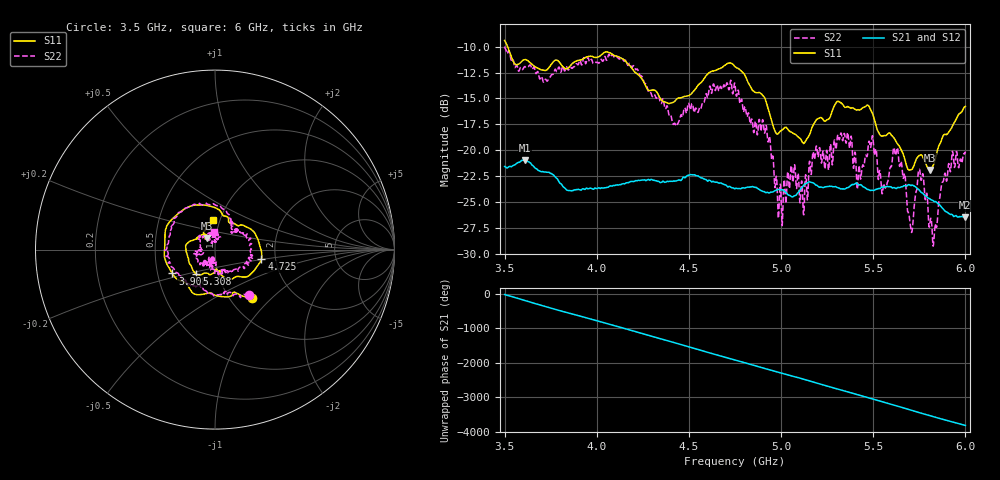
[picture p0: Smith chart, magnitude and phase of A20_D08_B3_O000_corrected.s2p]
! Created with skrf 1.9.0 (http://scikit-rf.org).
# Hz S RI R 50.0
!freq ReS11 ImS11 ReS21 ImS21 ReS12 ImS12 ReS22 ImS22
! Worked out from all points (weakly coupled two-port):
!   1601 points, 3.5 GHz to 6 GHz, reference 50 ohm
!   highest |S21| = -20.95 dB at 3.609 GHz (marker M1); lowest = -26.5 dB at 5.995 GHz (marker M2)
!   lowest |S11| = -21.9 dB at 5.806 GHz (marker M3), VSWR 1.17, Z = 45.1 + j5.89 ohm
!   |S11| at or under -10 dB: 3.516 GHz to end of sweep
!   |S22| runs from -29.3 to -10.0 dB; largest |S21 - S12| = 0.0011
!   S11 on the Smith chart (normalised r, x): 3.5 GHz: 1.26, -0.77; 3.908 GHz: 0.60, -0.17; 4.725 GHz: 1.69, -0.19; 5.308 GHz: 0.78, -0.22; 6 GHz: 0.93, +0.31
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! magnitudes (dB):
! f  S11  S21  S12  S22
! 3.5 GHz  -9.4  -21.6  -21.6  -10.0
! 3.609 GHz  -11.2  -20.9  -21.0  -11.9
! 3.908 GHz  -11.3  -23.8  -23.8  -11.3
! 3.917 GHz  -11.3  -23.8  -23.8  -11.8
! 4.334 GHz  -14.6  -23.0  -23.0  -14.8
! 4.427 GHz  -15.2  -23.0  -23.0  -17.5
! 4.725 GHz  -11.6  -23.6  -23.5  -13.4
! 4.75 GHz  -11.9  -23.7  -23.7  -13.7
! 4.928 GHz  -15.9  -24.1  -24.1  -19.2
! 4.995 GHz  -18.2  -23.8  -23.8  -23.3
! 5.131 GHz  -19.2  -23.2  -23.2  -22.7
! 5.167 GHz  -17.8  -23.1  -23.1  -21.5
! 5.308 GHz  -15.3  -23.6  -23.6  -18.5
! 5.584 GHz  -18.4  -23.5  -23.5  -22.5
! 5.625 GHz  -19.2  -23.7  -23.7  -20.2
! 5.706 GHz  -21.9  -23.4  -23.4  -27.8
! 5.758 GHz  -20.5  -24.0  -24.0  -22.7
! 5.806 GHz  -21.9  -24.7  -24.7  -27.3
! 5.833 GHz  -21.1  -25.0  -24.9  -27.8
! 5.88 GHz  -18.6  -25.7  -25.7  -23.0
! 5.995 GHz  -15.8  -26.5  -26.4  -20.3
! 6 GHz  -15.8  -26.5  -26.4  -20.1
